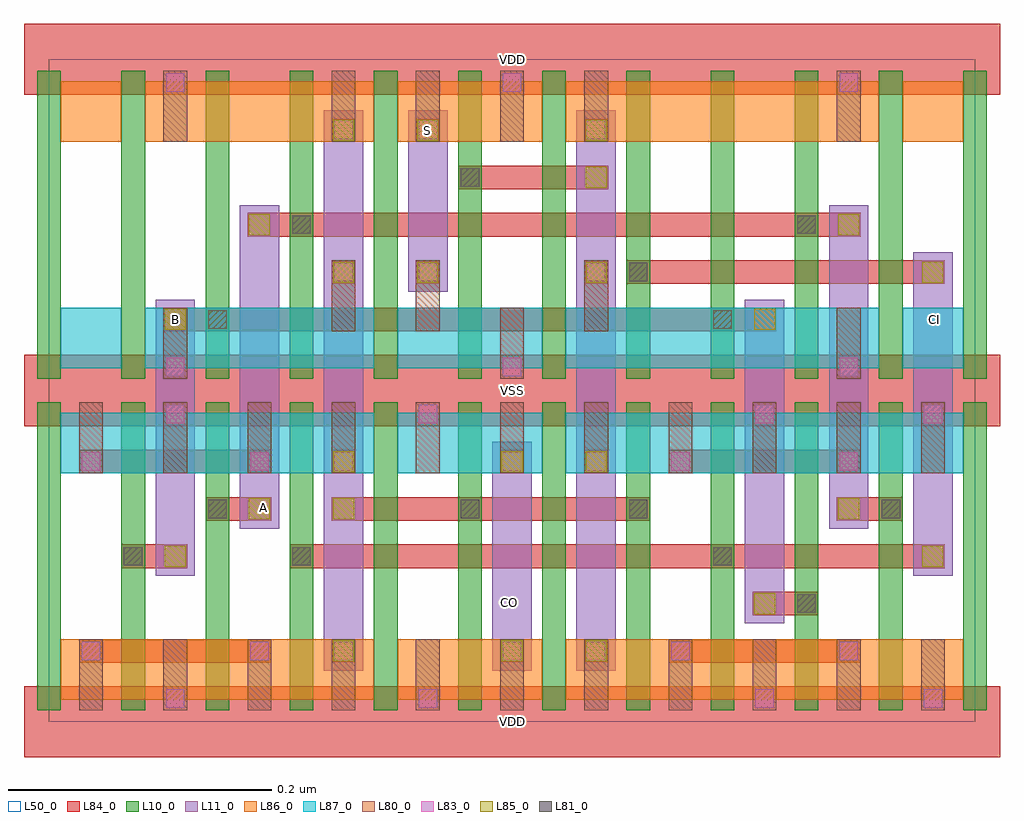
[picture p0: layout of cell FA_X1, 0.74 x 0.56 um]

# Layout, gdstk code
import gdstk
lib = gdstk.Library(unit=1e-6, precision=1e-09)
def R(c, l, rs):  # rectangles x0, y0, x1, y1
    for r in rs: c.add(gdstk.rectangle(r[:2], r[2:], *l))
def A(c, l, x, y, w, h, nx, ny, dx, dy):  # array of equal rectangles
    R(c, l, [(x+i*dx, y+j*dy, x+i*dx+w, y+j*dy+h) for i in range(nx) for j in range(ny)])
L10_0 = (10, 0)
L11_0 = (11, 0)
L50_0 = (50, 0)
L80_0 = (80, 0)
L81_0 = (81, 0)
L83_0 = (83, 0)
L84_0 = (84, 0)
L85_0 = (85, 0)
L86_0 = (86, 0)
L87_0 = (87, 0)

fa_x1 = lib.new_cell('FA_X1')
A(fa_x1, L10_0, -0.009, 0.009, 0.018, 0.234, 12, 2, 0.064, 0.252)
R(fa_x1, L11_0, [(0.209,0.039,0.239,0.465), (0.337,0.039,0.367,0.213), (0.401,0.039,0.431,0.465), (0.529,0.075,0.559,0.321), (0.081,0.111,0.111,0.321), (0.657,0.111,0.687,0.357), (0.145,0.147,0.175,0.393), (0.593,0.147,0.623,0.393), (0.273,0.327,0.303,0.465)])
R(fa_x1, L50_0, [(0,0,0.704,0.504)])
A(fa_x1, L80_0, 0.023, 0.009, 0.018, 0.054, 11, 2, 0.064, 0.18)
A(fa_x1, L80_0, 0.087, 0.261, 0.018, 0.054, 3, 1, 0.256, 0)
A(fa_x1, L80_0, 0.215, 0.441, 0.018, 0.054, 4, 1, 0.064, 0)
R(fa_x1, L80_0, [(0.215,0.297,0.233,0.351), (0.279,0.297,0.297,0.351), (0.407,0.297,0.425,0.351), (0.087,0.441,0.105,0.495), (0.599,0.441,0.617,0.495)])
R(fa_x1, L81_0, [(0.569,0.083,0.583,0.097), (0.057,0.119,0.071,0.133), (0.185,0.119,0.199,0.133), (0.505,0.119,0.519,0.133), (0.121,0.155,0.135,0.169), (0.313,0.155,0.327,0.169), (0.441,0.155,0.455,0.169), (0.633,0.155,0.647,0.169), (0.121,0.299,0.135,0.313), (0.505,0.299,0.519,0.313), (0.441,0.335,0.455,0.349), (0.185,0.371,0.199,0.385), (0.569,0.371,0.583,0.385), (0.313,0.407,0.327,0.421)])
A(fa_x1, L83_0, 0.217, 0.047, 0.014, 0.014, 1, 3, 0, 0.144)
A(fa_x1, L83_0, 0.345, 0.047, 0.014, 0.014, 3, 2, 0.064, 0.144)
A(fa_x1, L83_0, 0.281, 0.227, 0.014, 0.014, 1, 3, 0, 0.108)
A(fa_x1, L83_0, 0.089, 0.263, 0.014, 0.014, 3, 2, 0.256, 0.216)
R(fa_x1, L83_0, [(0.089,0.011,0.103,0.025), (0.281,0.011,0.295,0.025), (0.537,0.011,0.551,0.025), (0.665,0.011,0.679,0.025), (0.025,0.047,0.039,0.061), (0.153,0.047,0.167,0.061), (0.601,0.047,0.615,0.061), (0.025,0.191,0.039,0.205), (0.153,0.191,0.167,0.205), (0.601,0.191,0.615,0.205), (0.089,0.227,0.103,0.241), (0.537,0.227,0.551,0.241), (0.665,0.227,0.679,0.241), (0.409,0.335,0.423,0.349), (0.217,0.443,0.231,0.457), (0.409,0.443,0.423,0.457)])
A(fa_x1, L84_0, -0.019, -0.027, 0.742, 0.054, 1, 3, 0, 0.252)
A(fa_x1, L84_0, 0.215, 0.045, 0.018, 0.018, 1, 3, 0, 0.144)
A(fa_x1, L84_0, 0.343, 0.189, 0.018, 0.018, 3, 1, 0.064, 0)
R(fa_x1, L84_0, [(0.023,0.045,0.169,0.063), (0.343,0.045,0.361,0.063), (0.407,0.045,0.425,0.063), (0.471,0.045,0.617,0.063), (0.535,0.081,0.585,0.099), (0.055,0.117,0.105,0.135), (0.183,0.117,0.681,0.135), (0.119,0.153,0.169,0.171), (0.215,0.153,0.457,0.171), (0.599,0.153,0.649,0.171), (0.023,0.189,0.169,0.207), (0.151,0.189,0.169,0.207), (0.471,0.189,0.617,0.207), (0.087,0.297,0.553,0.315), (0.279,0.333,0.297,0.351), (0.407,0.333,0.425,0.351), (0.439,0.333,0.681,0.351), (0.151,0.369,0.617,0.387), (0.311,0.405,0.425,0.423), (0.215,0.441,0.233,0.459), (0.279,0.441,0.297,0.459), (0.407,0.441,0.425,0.459)])
A(fa_x1, L85_0, 0.408, 0.046, 0.016, 0.016, 1, 3, 0, 0.144)
R(fa_x1, L85_0, [(0.216,0.046,0.232,0.062), (0.344,0.046,0.36,0.062), (0.536,0.082,0.552,0.098), (0.088,0.118,0.104,0.134), (0.664,0.118,0.68,0.134), (0.152,0.154,0.168,0.17), (0.216,0.154,0.232,0.17), (0.6,0.154,0.616,0.17), (0.216,0.19,0.232,0.206), (0.344,0.19,0.36,0.206), (0.088,0.298,0.104,0.314), (0.536,0.298,0.552,0.314), (0.216,0.334,0.232,0.35), (0.28,0.334,0.296,0.35), (0.664,0.334,0.68,0.35), (0.152,0.37,0.168,0.386), (0.6,0.37,0.616,0.386), (0.408,0.406,0.424,0.422), (0.216,0.442,0.232,0.458), (0.28,0.442,0.296,0.458), (0.408,0.442,0.424,0.458)])
R(fa_x1, L86_0, [(0.009,0.017,0.247,0.063), (0.265,0.017,0.375,0.063), (0.393,0.017,0.695,0.063), (0.009,0.441,0.055,0.487), (0.073,0.441,0.247,0.487), (0.265,0.441,0.375,0.487), (0.393,0.441,0.631,0.487), (0.649,0.441,0.695,0.487)])
R(fa_x1, L87_0, [(0.009,0.189,0.247,0.235), (0.265,0.189,0.375,0.235), (0.393,0.189,0.695,0.235), (0.009,0.269,0.055,0.315), (0.073,0.269,0.247,0.315), (0.265,0.269,0.375,0.315), (0.393,0.269,0.631,0.315), (0.649,0.269,0.695,0.315)])
fa_x1.add(gdstk.Label('VDD', (0.352,0.504), layer=88, texttype=0))
fa_x1.add(gdstk.Label('VDD', (0.352,0), layer=88, texttype=0))
fa_x1.add(gdstk.Label('VSS', (0.352,0.252), layer=88, texttype=0))
fa_x1.add(gdstk.Label('B', (0.096,0.306), layer=31, texttype=0))
fa_x1.add(gdstk.Label('A', (0.163,0.163), layer=31, texttype=0))
fa_x1.add(gdstk.Label('S', (0.288,0.45), layer=31, texttype=0))
fa_x1.add(gdstk.Label('CI', (0.673,0.306), layer=31, texttype=0))
fa_x1.add(gdstk.Label('CO', (0.35,0.091), layer=31, texttype=0))

lib.write_gds('FA_X1.gds')
